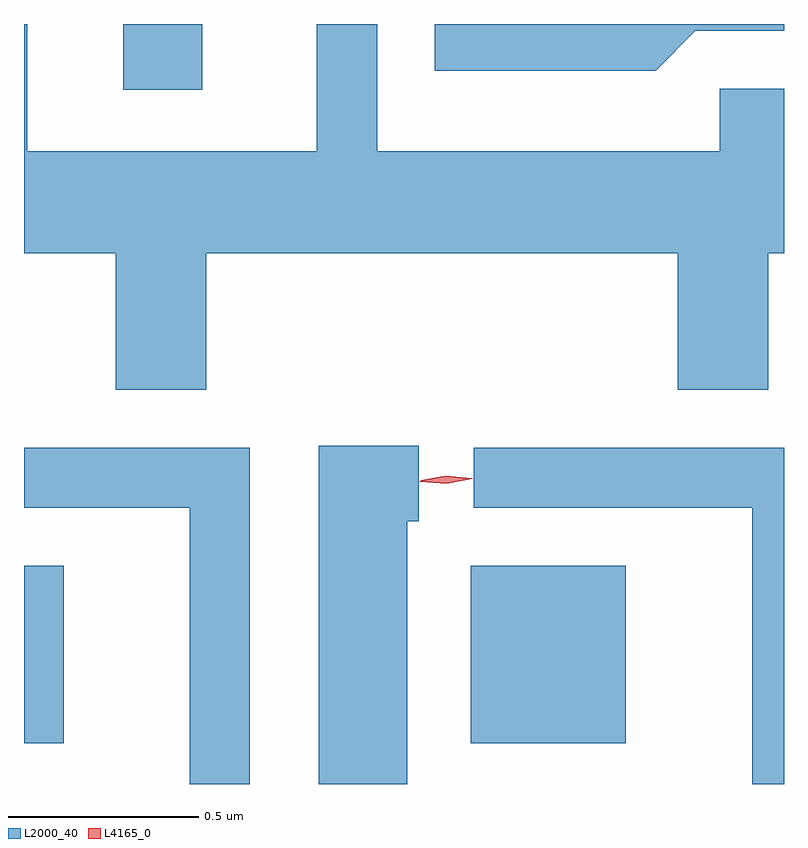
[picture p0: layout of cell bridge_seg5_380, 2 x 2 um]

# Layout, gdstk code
import gdstk
lib = gdstk.Library(unit=1e-6, precision=1e-09)
def R(c, l, rs):  # rectangles x0, y0, x1, y1
    for r in rs: c.add(gdstk.rectangle(r[:2], r[2:], *l))
def P(c, l, *ps):  # polygons
    for p in ps: c.add(gdstk.Polygon(p, *l))
L2000_40 = (2000, 40)
L4165_0 = (4165, 0)

bridge_seg5_380 = lib.new_cell('bridge_seg5_380')
R(bridge_seg5_380, L2000_40, [(806.485,1433.306,806.589,1433.774), (807.661,1433.306,808.069,1433.774), (806.746,1435.026,806.954,1435.199)])
P(bridge_seg5_380, L2000_40, [(806.964,1434.596),(808.206,1434.596),(808.206,1434.236),(808.444,1434.236),(808.444,1434.596),(808.485,1434.596),(808.485,1435.029),(808.316,1435.029),(808.316,1434.864),(807.414,1434.864),(807.414,1435.199),(807.256,1435.199),(807.256,1434.864),(806.494,1434.864),(806.494,1435.199),(806.485,1435.199),(806.485,1434.596),(806.726,1434.596),(806.726,1434.236),(806.964,1434.236)],
  [(808.252,1435.181),(808.485,1435.181),(808.485,1435.199),(807.566,1435.199),(807.566,1435.076),(808.147,1435.076)],
  [(807.494,1433.891),(807.524,1433.891),(807.524,1434.089),(807.261,1434.089),(807.261,1433.199),(807.494,1433.199)],
  [(807.079,1434.084),(806.485,1434.084),(806.485,1433.926),(806.921,1433.926),(806.921,1433.199),(807.079,1433.199)],
  [(808.485,1434.084),(807.668,1434.084),(807.668,1433.926),(808.401,1433.926),(808.401,1433.199),(808.485,1433.199)])
P(bridge_seg5_380, L4165_0, [(807.596,1433.99),(807.53,1433.997),(807.529,1433.998),(807.53,1433.998),(807.595,1434.01),(807.662,1434.003),(807.662,1434.003),(807.662,1434.002)],
  [(807.597,1433.989),(807.527,1433.995),(807.527,1433.995),(807.527,1433.996),(807.595,1434.009),(807.665,1434.003),(807.665,1434.003),(807.665,1434.002)])

lib.write_gds('bridge_seg5_380.gds')
